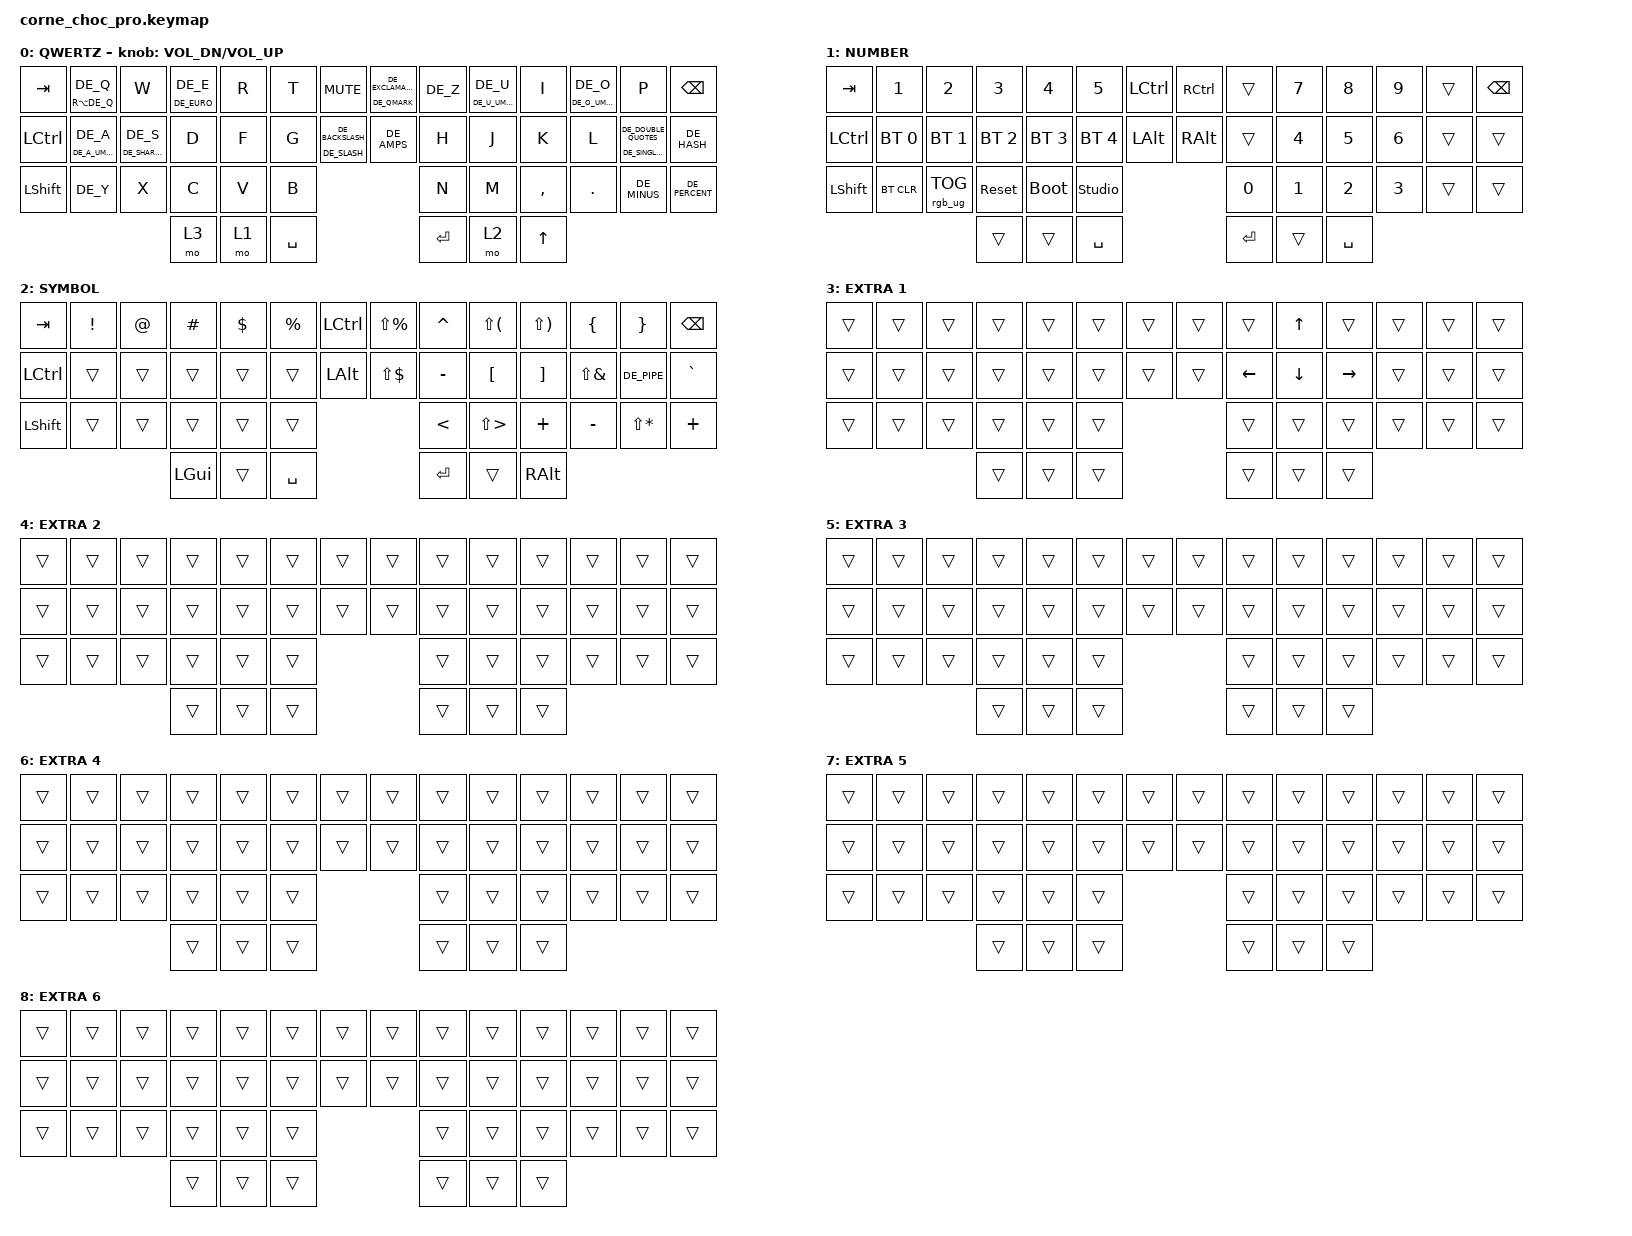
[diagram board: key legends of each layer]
/*
 * Copyright (c) 2020 The ZMK Contributors
 *
 * SPDX-License-Identifier: MIT
 */

#include "keys_de.h"
#include <behaviors.dtsi>
#include <dt-bindings/zmk/bt.h>
#include <dt-bindings/zmk/keys.h>
#include <dt-bindings/zmk/rgb.h>

&mt {
    tapping-term-ms = <300>;
    flavor = "tap-preferred";
};

/ {
    chosen { zmk,physical-layout = &default_layout; };
};

/ {
    macros {
        Password: TestMacro {
            compatible = "zmk,behavior-macro";
            #binding-cells = <0>;
            bindings = <&kp LS(T) &kp E &kp R &kp E &kp N &kp T &kp J &kp E &kp W &kp EXCL &kp N6 &kp N9 &kp N6 &kp N7>;
            label = "TESTMACRO";
        };
    };

    keymap {
        compatible = "zmk,keymap";

        default_layer {
            display-name = "QWERTZ";

            // --------------------------------------------------------------------------------
            // |  TAB |  Q  |  W  |  E  |  R  |  T  |  MUTE |  PP   |  Y  |  U   |  I  |  O  |  P  | BSPC |
            // | CTRL |  A  |  S  |  D  |  F  |  G  |  LALT |  RALT |  H  |  J   |  K  |  L  |  ;  |  '   |
            // | SHFT |  Z  |  X  |  C  |  V  |  B  |               |  N  |  M   |  ,  |  .  |  /  | ESC  |
            //                    | GUI | LWR | SPC |               | ENT | RSE  | ALT |

            bindings = <
&kp TAB    &mt RA(DE_Q) DE_Q     &kp W                &mt DE_EURO DE_E  &kp R  &kp T      &kp C_MUTE                 &mt DE_QMARK DE_EXCLAMATION  &kp DE_Z  &mt DE_U_UMLAUT DE_U  &kp I         &mt DE_O_UMLAUT DE_O  &kp P                                 &kp BSPC
&kp LCTRL  &mt DE_A_UMLAUT DE_A  &mt DE_SHARP_S DE_S  &kp D             &kp F  &kp G      &mt DE_SLASH DE_BACKSLASH  &kp DE_AMPS                  &kp H     &kp J                 &kp K         &kp L                 &mt DE_SINGLE_QUOTE DE_DOUBLE_QUOTES  &kp DE_HASH
&kp LSHFT  &kp DE_Y              &kp X                &kp C             &kp V  &kp B                                                              &kp N     &kp M                 &kp COMMA     &kp DOT               &kp DE_MINUS                          &kp DE_PERCENT
                                                      &mo 3             &mo 1  &kp SPACE                                                          &kp RET   &mo 2                 &kp UP_ARROW
            >;

            sensor-bindings = <&inc_dec_kp C_VOL_DN C_VOL_UP>;
        };

        lower_layer {
            display-name = "NUMBER";

            // -----------------------------------------------------------------------------------------
            // |  TAB |  1  |  2  |  3  |  4  |  5    |  LCTRL | RCTRL |  6  |  7  |  8  |  9  |  0  | BSPC |
            // | CTRL | BT1 | BT2 | BT3 | BT4 | BT5   |  LALT  | RALT  | LFT | DWN |  UP | RGT |     |      |
            // | SHFT | BTCR| RGB | RST | BOOT| Unlock|        |       |     |     |     |     |     |      |
            //                    | GUI |     | SPC   |        | ENT   |     | ALT |

            bindings = <
&kp TAB    &kp N1        &kp N2           &kp N3        &kp N4        &kp N5          &kp LCTRL  &kp RCTRL  &trans     &kp N7  &kp N8     &kp N9  &trans  &kp BSPC
&kp LCTRL  &bt BT_SEL 0  &bt BT_SEL 1     &bt BT_SEL 2  &bt BT_SEL 3  &bt BT_SEL 4    &kp LALT   &kp RALT   &trans     &kp N4  &kp N5     &kp N6  &trans  &trans
&kp LSHFT  &bt BT_CLR    &rgb_ug RGB_TOG  &sys_reset    &bootloader   &studio_unlock                        &kp N0     &kp N1  &kp N2     &kp N3  &trans  &trans
                                          &trans        &trans        &kp SPACE                             &kp ENTER  &trans  &kp SPACE
            >;
        };

        raise_layer {
            display-name = "SYMBOL";

            // -----------------------------------------------------------------------------------------
            // |  TAB |  !  |  @  |  #  |  $  |  %  | LCTRL | RCTRL |  ^  |  &  |  *  |  (  |  )  | BSPC |
            // | CTRL |     |     |     |     |     |  LALT | RALT  |  -  |  =  |  [  |  ]  |  \  |  `   |
            // | SHFT |     |     |     |     |     |               |  _  |  +  |  {  |  }  | "|" |  ~   |
            //                    | GUI |     | SPC |               | ENT |     | ALT |

            bindings = <
&kp TAB    &kp EXCL  &kp AT  &kp HASH  &kp DLLR  &kp PRCNT  &kp LCTRL  &kp LS(PRCNT)  &kp CARET  &kp LS(LPAR)  &kp LS(RPAR)  &kp LBRC      &kp RBRC      &kp BSPC
&kp LCTRL  &trans    &trans  &trans    &trans    &trans     &kp LALT   &kp LS(DLLR)   &kp MINUS  &kp LBKT      &kp RBKT      &kp LS(AMPS)  &kp DE_PIPE   &kp GRAVE
&kp LSHFT  &trans    &trans  &trans    &trans    &trans                               &kp LT     &kp LS(GT)    &kp PLUS      &kp MINUS     &kp LS(STAR)  &kp PLUS
                             &kp LGUI  &trans    &kp SPACE                            &kp RET    &trans        &kp RALT
            >;
        };

        Navigation {
            display-name = "EXTRA 1";
            bindings = <
&trans  &trans  &trans  &trans  &trans  &trans  &trans  &trans  &trans    &kp UP    &trans     &trans  &trans  &trans
&trans  &trans  &trans  &trans  &trans  &trans  &trans  &trans  &kp LEFT  &kp DOWN  &kp RIGHT  &trans  &trans  &trans
&trans  &trans  &trans  &trans  &trans  &trans                  &trans    &trans    &trans     &trans  &trans  &trans
                        &trans  &trans  &trans                  &trans    &trans    &trans
            >;
        };

        extra_layer_2 {
            display-name = "EXTRA 2";
            bindings = <
&trans  &trans  &trans  &trans  &trans  &trans  &trans  &trans  &trans  &trans  &trans  &trans  &trans  &trans
&trans  &trans  &trans  &trans  &trans  &trans  &trans  &trans  &trans  &trans  &trans  &trans  &trans  &trans
&trans  &trans  &trans  &trans  &trans  &trans                  &trans  &trans  &trans  &trans  &trans  &trans
                        &trans  &trans  &trans                  &trans  &trans  &trans
            >;
        };

        extra_layer_3 {
            display-name = "EXTRA 3";
            bindings = <
&trans  &trans  &trans  &trans  &trans  &trans  &trans  &trans  &trans  &trans  &trans  &trans  &trans  &trans
&trans  &trans  &trans  &trans  &trans  &trans  &trans  &trans  &trans  &trans  &trans  &trans  &trans  &trans
&trans  &trans  &trans  &trans  &trans  &trans                  &trans  &trans  &trans  &trans  &trans  &trans
                        &trans  &trans  &trans                  &trans  &trans  &trans
            >;
        };

        extra_layer_4 {
            display-name = "EXTRA 4";
            bindings = <
&trans  &trans  &trans  &trans  &trans  &trans  &trans  &trans  &trans  &trans  &trans  &trans  &trans  &trans
&trans  &trans  &trans  &trans  &trans  &trans  &trans  &trans  &trans  &trans  &trans  &trans  &trans  &trans
&trans  &trans  &trans  &trans  &trans  &trans                  &trans  &trans  &trans  &trans  &trans  &trans
                        &trans  &trans  &trans                  &trans  &trans  &trans
            >;
        };

        extra_layer_5 {
            display-name = "EXTRA 5";
            bindings = <
&trans  &trans  &trans  &trans  &trans  &trans  &trans  &trans  &trans  &trans  &trans  &trans  &trans  &trans
&trans  &trans  &trans  &trans  &trans  &trans  &trans  &trans  &trans  &trans  &trans  &trans  &trans  &trans
&trans  &trans  &trans  &trans  &trans  &trans                  &trans  &trans  &trans  &trans  &trans  &trans
                        &trans  &trans  &trans                  &trans  &trans  &trans
            >;
        };

        extra_layer_6 {
            display-name = "EXTRA 6";
            bindings = <
&trans  &trans  &trans  &trans  &trans  &trans  &trans  &trans  &trans  &trans  &trans  &trans  &trans  &trans
&trans  &trans  &trans  &trans  &trans  &trans  &trans  &trans  &trans  &trans  &trans  &trans  &trans  &trans
&trans  &trans  &trans  &trans  &trans  &trans                  &trans  &trans  &trans  &trans  &trans  &trans
                        &trans  &trans  &trans                  &trans  &trans  &trans
            >;
        };
    };
};
